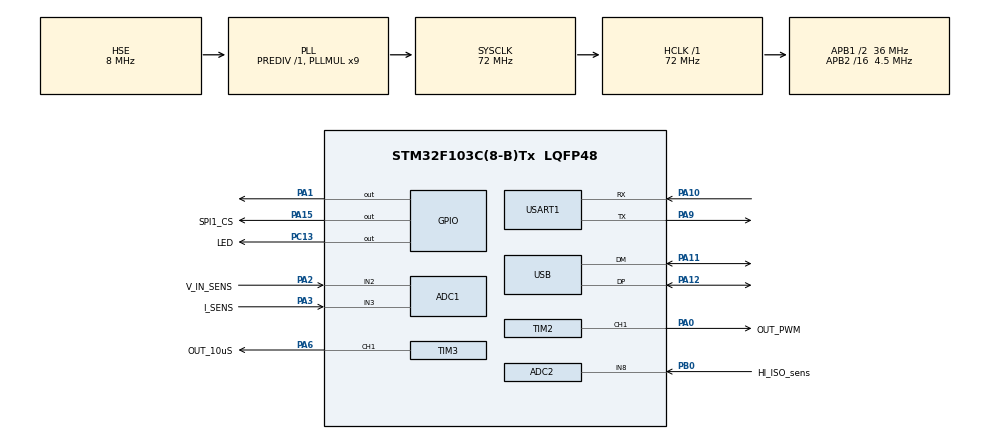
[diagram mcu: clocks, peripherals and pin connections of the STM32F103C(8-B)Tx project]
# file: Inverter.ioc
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ADC1.Channel-0\#ChannelRegularConversion=ADC_CHANNEL_2
ADC1.NbrOfConversionFlag=1
ADC1.Rank-0\#ChannelRegularConversion=1
ADC1.SamplingTime-0\#ChannelRegularConversion=ADC_SAMPLETIME_1CYCLE_5
ADC1.master=1
ADC2.Channel-3\#ChannelRegularConversion=ADC_CHANNEL_8
ADC2.NbrOfConversionFlag=1
ADC2.Rank-3\#ChannelRegularConversion=1
ADC2.SamplingTime-3\#ChannelRegularConversion=ADC_SAMPLETIME_1CYCLE_5
Dma.Request0=TIM2_CH1
Dma.TIM2_CH1.0.Direction=DMA_MEMORY_TO_PERIPH
Dma.TIM2_CH1.0.Instance=DMA1_Channel5
Dma.TIM2_CH1.0.MemDataAlignment=DMA_MDATAALIGN_WORD
Dma.TIM2_CH1.0.MemInc=DMA_MINC_ENABLE
Dma.TIM2_CH1.0.Mode=DMA_NORMAL
Dma.TIM2_CH1.0.PeriphDataAlignment=DMA_PDATAALIGN_WORD
Dma.TIM2_CH1.0.PeriphInc=DMA_PINC_DISABLE
Dma.TIM2_CH1.0.Priority=DMA_PRIORITY_HIGH
Mcu.Family=STM32F1
Mcu.Name=STM32F103C(8-B)Tx
Mcu.Package=LQFP48
NVIC.DMA1_Channel5_IRQn=true\:0\:0\:false\:false\:true\:false\:true\:true
NVIC.PriorityGroup=NVIC_PRIORITYGROUP_4
NVIC.TIM3_IRQn=true\:0\:0\:false\:false\:true\:true\:true\:true
NVIC.USB_LP_CAN1_RX0_IRQn=true\:0\:0\:false\:false\:true\:false\:true\:true
PA0-WKUP.GPIO_Label=OUT_PWM
PA0-WKUP.Signal=S_TIM2_CH1_ETR
PA1.Signal=GPIO_Output
PA1.Stacked=true
PA10.Mode=Asynchronous
PA10.Signal=USART1_RX
PA11.Mode=Device
PA11.Signal=USB_DM
PA12.Mode=Device
PA12.Signal=USB_DP
PA13.Mode=Serial_Wire
PA13.Signal=SYS_JTMS-SWDIO
PA14.Mode=Serial_Wire
PA14.Signal=SYS_JTCK-SWCLK
PA15.GPIO_Label=SPI1_CS
PA15.GPIO_ModeDefaultOutputPP=GPIO_MODE_OUTPUT_PP
PA15.GPIO_PuPd=GPIO_NOPULL
PA15.GPIO_Speed=GPIO_SPEED_FREQ_HIGH
PA15.PinState=GPIO_PIN_SET
PA15.Signal=GPIO_Output
PA2.GPIO_Label=V_IN_SENS
PA2.Signal=ADCx_IN2
PA3.GPIO_Label=I_SENS
PA3.Signal=ADCx_IN3
PA6.GPIO_Label=OUT_10uS
PA6.Signal=S_TIM3_CH1
PA9.Mode=Asynchronous
PA9.Signal=USART1_TX
PB0.GPIO_Label=HI_ISO_sens
PB0.Signal=ADCx_IN8
PC13-TAMPER-RTC.GPIO_Label=LED
PC13-TAMPER-RTC.Signal=GPIO_Output
PC14-OSC32_IN.Mode=LSE-External-Oscillator
PC14-OSC32_IN.Signal=RCC_OSC32_IN
PC15-OSC32_OUT.Mode=LSE-External-Oscillator
PC15-OSC32_OUT.Signal=RCC_OSC32_OUT
PD0-OSC_IN.Mode=HSE-External-Oscillator
PD0-OSC_IN.Signal=RCC_OSC_IN
PD1-OSC_OUT.Mode=HSE-External-Oscillator
PD1-OSC_OUT.Signal=RCC_OSC_OUT
ProjectManager.HeapSize=0x200
ProjectManager.StackSize=0x400
ProjectManager.TargetToolchain=STM32CubeIDE
RCC.AHBFreq_Value=72000000
RCC.APB1CLKDivider=RCC_HCLK_DIV2
RCC.APB1Freq_Value=36000000
RCC.APB1TimFreq_Value=72000000
RCC.APB2CLKDivider=RCC_HCLK_DIV16
RCC.APB2Freq_Value=4500000
RCC.APB2TimFreq_Value=9000000
RCC.HCLKFreq_Value=72000000
RCC.PLLMUL=RCC_PLL_MUL9
RCC.SYSCLKFreq_VALUE=72000000
RCC.SYSCLKSource=RCC_SYSCLKSOURCE_PLLCLK
RCC.USBFreq_Value=48000000
RCC.USBPrescaler=RCC_USBCLKSOURCE_PLL_DIV1_5
SH.ADCx_IN2.0=ADC1_IN2,IN2
SH.ADCx_IN3.0=ADC1_IN3,IN3
SH.ADCx_IN8.0=ADC2_IN8,IN8
SH.S_TIM2_CH1_ETR.0=TIM2_CH1,PWM Generation1 CH1
SH.S_TIM3_CH1.0=TIM3_CH1,PWM Generation1 CH1
TIM2.AutoReloadPreload=TIM_AUTORELOAD_PRELOAD_DISABLE
TIM2.Channel-PWM\ Generation1\ CH1=TIM_CHANNEL_1
TIM2.CounterMode=TIM_COUNTERMODE_CENTERALIGNED1
TIM2.OC1Preload_PWM=ENABLE
TIM2.OCFastMode_PWM-PWM\ Generation1\ CH1=TIM_OCFAST_ENABLE
TIM2.OCPolarity_1=TIM_OCPOLARITY_HIGH
TIM2.Period=3955
TIM2.Prescaler=0
TIM2.Pulse-PWM\ Generation1\ CH1=1
TIM2.TIM_MasterOutputTrigger=TIM_TRGO_UPDATE
TIM2.TIM_MasterSlaveMode=TIM_MASTERSLAVEMODE_DISABLE
TIM3.Channel-PWM\ Generation1\ CH1=TIM_CHANNEL_1
TIM3.CounterMode=TIM_COUNTERMODE_UP
TIM3.Period=4500
TIM3.Prescaler=159
TIM3.Pulse-PWM\ Generation1\ CH1=2250
USART1.VirtualMode=VM_ASYNC
USB_DEVICE.CLASS_NAME_FS=HID
USB_DEVICE.VirtualMode=Hid
USB_DEVICE.VirtualModeFS=Hid_FS
VP_USB_DEVICE_VS_USB_DEVICE_HID_FS.Mode=HID_FS
board=custom

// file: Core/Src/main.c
/* USER CODE BEGIN Header */
/**
  ******************************************************************************
  * @file           : main.c
  * @brief          : Main program body
  ******************************************************************************
  * @attention
  *
  * Copyright (c) 2022 STMicroelectronics.
  * All rights reserved.
  *
  * This software is licensed under terms that can be found in the LICENSE file
  * in the root directory of this software component.
  * If no LICENSE file comes with this software, it is provided AS-IS.
  *
  ******************************************************************************
  */
/* USER CODE END Header */
#include "main.h"
#include "usb_device.h"

ADC_HandleTypeDef hadc1;
ADC_HandleTypeDef hadc2;

TIM_HandleTypeDef htim2;
TIM_HandleTypeDef htim3;
DMA_HandleTypeDef hdma_tim2_ch1;

UART_HandleTypeDef huart1;

/* USER CODE BEGIN PV */

#define STEPS  90 /*number of entries of the sine look up table*/
         uint32_t Sin_Table[STEPS]=
         {
        		 1	,
        		 138	,
        		 275	,
        		 413	,
        		 550	,
        		 686	,
        		 822	,
        		 956	,
        		 1090	,
        		 1222	,
        		 1352	,
        		 1481	,
        		 1608	,
        		 1733	,
        		 1856	,
        		 1977	,
        		 2095	,
        		 2211	,
        		 2324	,
        		 2434	,
        		 2542	,
        		 2646	,
        		 2747	,
        		 2844	,
        		 2939	,
        		 3029	,
        		 3116	,
        		 3199	,
        		 3278	,
        		 3354	,
        		 3425	,
        		 3492	,
        		 3554	,
        		 3613	,
        		 3667	,
        		 3716	,
        		 3761	,
        		 3801	,
        		 3837	,
        		 3868	,
        		 3894	,
        		 3916	,
        		 3933	,
        		 3945	,
        		 3952	,
        		 3955	,
        		 3952	,
        		 3945	,
        		 3933	,
        		 3916	,
        		 3894	,
        		 3868	,
        		 3837	,
        		 3801	,
        		 3761	,
        		 3716	,
        		 3667	,
        		 3613	,
        		 3554	,
        		 3492	,
        		 3425	,
        		 3354	,
        		 3278	,
        		 3199	,
        		 3116	,
        		 3029	,
        		 2939	,
        		 2844	,
        		 2747	,
        		 2646	,
        		 2542	,
        		 2434	,
        		 2324	,
        		 2211	,
        		 2095	,
        		 1977	,
        		 1856	,
        		 1733	,
        		 1608	,
        		 1481	,
        		 1352	,
        		 1222	,
        		 1090	,
        		 956	,
        		 822	,
        		 686	,
        		 550	,
        		 413	,
        		 275	,
        		 138

         };

/* USER CODE END PV */

void SystemClock_Config(void);
static void MX_GPIO_Init(void);
static void MX_DMA_Init(void);
static void MX_TIM2_Init(void);
static void MX_TIM3_Init(void);
static void MX_ADC1_Init(void);
static void MX_ADC2_Init(void);
static void MX_USART1_UART_Init(void);

int main(void)
{

  /* MCU Configuration--------------------------------------------------------*/

  /* Reset of all peripherals, Initializes the Flash interface and the Systick. */
  HAL_Init();

  /* Configure the system clock */
  SystemClock_Config();

  /* Initialize all configured peripherals */
  MX_GPIO_Init();
  MX_DMA_Init();
  MX_USB_DEVICE_Init();
  MX_TIM2_Init();
  MX_TIM3_Init();
  MX_ADC1_Init();
  MX_ADC2_Init();
  MX_USART1_UART_Init();
  /* USER CODE BEGIN 2 */

							  //HAL_TIM_PWM_Start(&htim1, TIM_CHANNEL_1);

							  HAL_TIM_PWM_Start(&htim3, TIM_CHANNEL_1);
							  HAL_TIM_Base_Start_IT(&htim3);
							 // HAL_TIM_PWM_Start_DMA(&htim2, TIM_CHANNEL_1, Sin_Table, STEPS);  //-------------------------------------------------------------------------------------------------------------------------------------------------------------------------------------------------------------
							 // HAL_TIM_Base_Stop(&htim2);

  /* USER CODE END 2 */

  /* Infinite loop */
  while (1)
  {

  }
}

void SystemClock_Config(void)
{
  RCC_OscInitTypeDef RCC_OscInitStruct = {0};
  RCC_ClkInitTypeDef RCC_ClkInitStruct = {0};
  RCC_PeriphCLKInitTypeDef PeriphClkInit = {0};

  /** Initializes the RCC Oscillators according to the specified parameters
  * in the RCC_OscInitTypeDef structure.
  */
  RCC_OscInitStruct.OscillatorType = RCC_OSCILLATORTYPE_HSE;
  RCC_OscInitStruct.HSEState = RCC_HSE_ON;
  RCC_OscInitStruct.HSEPredivValue = RCC_HSE_PREDIV_DIV1;
  RCC_OscInitStruct.HSIState = RCC_HSI_ON;
  RCC_OscInitStruct.PLL.PLLState = RCC_PLL_ON;
  RCC_OscInitStruct.PLL.PLLSource = RCC_PLLSOURCE_HSE;
  RCC_OscInitStruct.PLL.PLLMUL = RCC_PLL_MUL9;
  if (HAL_RCC_OscConfig(&RCC_OscInitStruct) != HAL_OK)
  {
    Error_Handler();
  }

  /** Initializes the CPU, AHB and APB buses clocks
  */
  RCC_ClkInitStruct.ClockType = RCC_CLOCKTYPE_HCLK|RCC_CLOCKTYPE_SYSCLK
                              |RCC_CLOCKTYPE_PCLK1|RCC_CLOCKTYPE_PCLK2;
  RCC_ClkInitStruct.SYSCLKSource = RCC_SYSCLKSOURCE_PLLCLK;
  RCC_ClkInitStruct.AHBCLKDivider = RCC_SYSCLK_DIV1;
  RCC_ClkInitStruct.APB1CLKDivider = RCC_HCLK_DIV2;
  RCC_ClkInitStruct.APB2CLKDivider = RCC_HCLK_DIV16;

  if (HAL_RCC_ClockConfig(&RCC_ClkInitStruct, FLASH_LATENCY_2) != HAL_OK)
  {
    Error_Handler();
  }
  PeriphClkInit.PeriphClockSelection = RCC_PERIPHCLK_ADC|RCC_PERIPHCLK_USB;
  PeriphClkInit.AdcClockSelection = RCC_ADCPCLK2_DIV2;
  PeriphClkInit.UsbClockSelection = RCC_USBCLKSOURCE_PLL_DIV1_5;
  if (HAL_RCCEx_PeriphCLKConfig(&PeriphClkInit) != HAL_OK)
  {
    Error_Handler();
  }
}

static void MX_ADC1_Init(void)
{

  ADC_ChannelConfTypeDef sConfig = {0};

  /** Common config
  */
  hadc1.Instance = ADC1;
  hadc1.Init.ScanConvMode = ADC_SCAN_DISABLE;
  hadc1.Init.ContinuousConvMode = DISABLE;
  hadc1.Init.DiscontinuousConvMode = DISABLE;
  hadc1.Init.ExternalTrigConv = ADC_SOFTWARE_START;
  hadc1.Init.DataAlign = ADC_DATAALIGN_RIGHT;
  hadc1.Init.NbrOfConversion = 1;
  if (HAL_ADC_Init(&hadc1) != HAL_OK)
  {
    Error_Handler();
  }

  /** Configure Regular Channel
  */
  sConfig.Channel = ADC_CHANNEL_2;
  sConfig.Rank = ADC_REGULAR_RANK_1;
  sConfig.SamplingTime = ADC_SAMPLETIME_1CYCLE_5;
  if (HAL_ADC_ConfigChannel(&hadc1, &sConfig) != HAL_OK)
  {
    Error_Handler();
  }

}

static void MX_ADC2_Init(void)
{

  ADC_ChannelConfTypeDef sConfig = {0};

  /** Common config
  */
  hadc2.Instance = ADC2;
  hadc2.Init.ScanConvMode = ADC_SCAN_DISABLE;
  hadc2.Init.ContinuousConvMode = DISABLE;
  hadc2.Init.DiscontinuousConvMode = DISABLE;
  hadc2.Init.ExternalTrigConv = ADC_SOFTWARE_START;
  hadc2.Init.DataAlign = ADC_DATAALIGN_RIGHT;
  hadc2.Init.NbrOfConversion = 1;
  if (HAL_ADC_Init(&hadc2) != HAL_OK)
  {
    Error_Handler();
  }

  /** Configure Regular Channel
  */
  sConfig.Channel = ADC_CHANNEL_8;
  sConfig.Rank = ADC_REGULAR_RANK_1;
  sConfig.SamplingTime = ADC_SAMPLETIME_1CYCLE_5;
  if (HAL_ADC_ConfigChannel(&hadc2, &sConfig) != HAL_OK)
  {
    Error_Handler();
  }

}

static void MX_TIM2_Init(void)
{

  TIM_MasterConfigTypeDef sMasterConfig = {0};
  TIM_OC_InitTypeDef sConfigOC = {0};

  htim2.Instance = TIM2;
  htim2.Init.Prescaler = 0;
  htim2.Init.CounterMode = TIM_COUNTERMODE_CENTERALIGNED1;
  htim2.Init.Period = 3955;
  htim2.Init.ClockDivision = TIM_CLOCKDIVISION_DIV1;
  htim2.Init.AutoReloadPreload = TIM_AUTORELOAD_PRELOAD_DISABLE;
  if (HAL_TIM_PWM_Init(&htim2) != HAL_OK)
  {
    Error_Handler();
  }
  sMasterConfig.MasterOutputTrigger = TIM_TRGO_UPDATE;
  sMasterConfig.MasterSlaveMode = TIM_MASTERSLAVEMODE_DISABLE;
  if (HAL_TIMEx_MasterConfigSynchronization(&htim2, &sMasterConfig) != HAL_OK)
  {
    Error_Handler();
  }
  sConfigOC.OCMode = TIM_OCMODE_PWM1;
  sConfigOC.Pulse = 1;
  sConfigOC.OCPolarity = TIM_OCPOLARITY_HIGH;
  sConfigOC.OCFastMode = TIM_OCFAST_ENABLE;
  if (HAL_TIM_PWM_ConfigChannel(&htim2, &sConfigOC, TIM_CHANNEL_1) != HAL_OK)
  {
    Error_Handler();
  }
  HAL_TIM_MspPostInit(&htim2);

}

static void MX_TIM3_Init(void)
{

  TIM_MasterConfigTypeDef sMasterConfig = {0};
  TIM_OC_InitTypeDef sConfigOC = {0};

  htim3.Instance = TIM3;
  htim3.Init.Prescaler = 159;
  htim3.Init.CounterMode = TIM_COUNTERMODE_UP;
  htim3.Init.Period = 4500;
  htim3.Init.ClockDivision = TIM_CLOCKDIVISION_DIV1;
  htim3.Init.AutoReloadPreload = TIM_AUTORELOAD_PRELOAD_DISABLE;
  if (HAL_TIM_PWM_Init(&htim3) != HAL_OK)
  {
    Error_Handler();
  }
  sMasterConfig.MasterOutputTrigger = TIM_TRGO_RESET;
  sMasterConfig.MasterSlaveMode = TIM_MASTERSLAVEMODE_DISABLE;
  if (HAL_TIMEx_MasterConfigSynchronization(&htim3, &sMasterConfig) != HAL_OK)
  {
    Error_Handler();
  }
  sConfigOC.OCMode = TIM_OCMODE_PWM1;
  sConfigOC.Pulse = 2250;
  sConfigOC.OCPolarity = TIM_OCPOLARITY_HIGH;
  sConfigOC.OCFastMode = TIM_OCFAST_DISABLE;
  if (HAL_TIM_PWM_ConfigChannel(&htim3, &sConfigOC, TIM_CHANNEL_1) != HAL_OK)
  {
    Error_Handler();
  }
  HAL_TIM_MspPostInit(&htim3);

}

static void MX_USART1_UART_Init(void)
{

  huart1.Instance = USART1;
  huart1.Init.BaudRate = 115200;
  huart1.Init.WordLength = UART_WORDLENGTH_8B;
  huart1.Init.StopBits = UART_STOPBITS_1;
  huart1.Init.Parity = UART_PARITY_NONE;
  huart1.Init.Mode = UART_MODE_TX_RX;
  huart1.Init.HwFlowCtl = UART_HWCONTROL_NONE;
  huart1.Init.OverSampling = UART_OVERSAMPLING_16;
  if (HAL_UART_Init(&huart1) != HAL_OK)
  {
    Error_Handler();
  }

}

static void MX_DMA_Init(void)
{

  /* DMA controller clock enable */
  __HAL_RCC_DMA1_CLK_ENABLE();

  /* DMA interrupt init */
  /* DMA1_Channel5_IRQn interrupt configuration */
  HAL_NVIC_SetPriority(DMA1_Channel5_IRQn, 0, 0);
  HAL_NVIC_EnableIRQ(DMA1_Channel5_IRQn);

}

static void MX_GPIO_Init(void)
{
  GPIO_InitTypeDef GPIO_InitStruct = {0};

  /* GPIO Ports Clock Enable */
  __HAL_RCC_GPIOC_CLK_ENABLE();
  __HAL_RCC_GPIOD_CLK_ENABLE();
  __HAL_RCC_GPIOA_CLK_ENABLE();
  __HAL_RCC_GPIOB_CLK_ENABLE();

  /*Configure GPIO pin Output Level */
  HAL_GPIO_WritePin(LED_GPIO_Port, LED_Pin, GPIO_PIN_RESET);

  /*Configure GPIO pin Output Level */
  HAL_GPIO_WritePin(GPIOA, GPIO_PIN_1, GPIO_PIN_RESET);

  /*Configure GPIO pin Output Level */
  HAL_GPIO_WritePin(SPI1_CS_GPIO_Port, SPI1_CS_Pin, GPIO_PIN_SET);

  /*Configure GPIO pin : LED_Pin */
  GPIO_InitStruct.Pin = LED_Pin;
  GPIO_InitStruct.Mode = GPIO_MODE_OUTPUT_PP;
  GPIO_InitStruct.Pull = GPIO_NOPULL;
  GPIO_InitStruct.Speed = GPIO_SPEED_FREQ_LOW;
  HAL_GPIO_Init(LED_GPIO_Port, &GPIO_InitStruct);

  /*Configure GPIO pin : PA1 */
  GPIO_InitStruct.Pin = GPIO_PIN_1;
  GPIO_InitStruct.Mode = GPIO_MODE_OUTPUT_PP;
  GPIO_InitStruct.Pull = GPIO_NOPULL;
  GPIO_InitStruct.Speed = GPIO_SPEED_FREQ_LOW;
  HAL_GPIO_Init(GPIOA, &GPIO_InitStruct);

  /*Configure GPIO pin : SPI1_CS_Pin */
  GPIO_InitStruct.Pin = SPI1_CS_Pin;
  GPIO_InitStruct.Mode = GPIO_MODE_OUTPUT_PP;
  GPIO_InitStruct.Pull = GPIO_NOPULL;
  GPIO_InitStruct.Speed = GPIO_SPEED_FREQ_HIGH;
  HAL_GPIO_Init(SPI1_CS_GPIO_Port, &GPIO_InitStruct);

}

/* USER CODE BEGIN 4 */

void Timer2Reset()
{
	HAL_GPIO_TogglePin(OUT_100Hz_GPIO_Port, OUT_100Hz_Pin);
	HAL_TIM_PWM_Stop(&htim2, TIM_CHANNEL_1);
    HAL_TIM_PWM_Start_DMA(&htim2, TIM_CHANNEL_1, Sin_Table, STEPS);
}

/* USER CODE END 4 */

void Error_Handler(void)
{
  __disable_irq();
  while (1)
  {
  }
}
